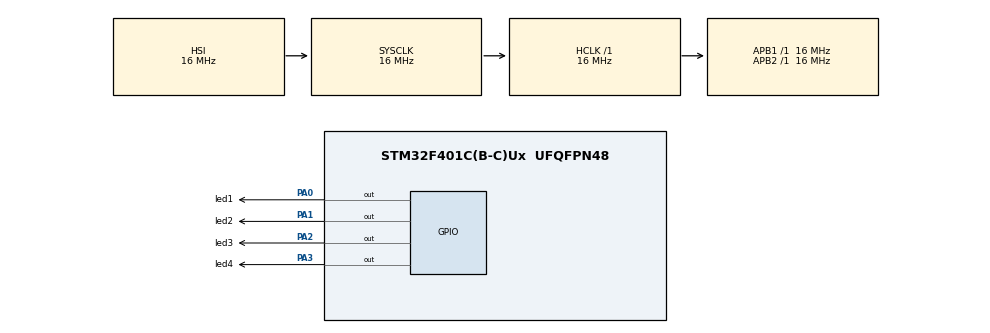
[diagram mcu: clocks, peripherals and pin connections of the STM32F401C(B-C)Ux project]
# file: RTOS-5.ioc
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FREERTOS.Tasks01=defaultTask,24,128,StartDefaultTask,Default,NULL,Dynamic,NULL,NULL;Green_Led_Flash,16,128,GreenTask,Default,NULL,Dynamic,NULL,NULL;Red_Led_Flash,24,128,RedTask,Default,NULL,Dynamic,NULL,NULL
Mcu.Family=STM32F4
Mcu.Name=STM32F401C(B-C)Ux
Mcu.Package=UFQFPN48
NVIC.PriorityGroup=NVIC_PRIORITYGROUP_4
NVIC.TIM4_IRQn=true\:15\:0\:false\:false\:true\:false\:false\:true\:true
NVIC.TimeBase=TIM4_IRQn
NVIC.TimeBaseIP=TIM4
PA0-WKUP.GPIO_Label=led1
PA0-WKUP.Signal=GPIO_Output
PA1.GPIO_Label=led2
PA1.Signal=GPIO_Output
PA13.Mode=Trace_Asynchronous_SW
PA13.Signal=SYS_JTMS-SWDIO
PA14.Mode=Trace_Asynchronous_SW
PA14.Signal=SYS_JTCK-SWCLK
PA2.GPIO_Label=led3
PA2.Signal=GPIO_Output
PA3.GPIO_Label=led4
PA3.Signal=GPIO_Output
PB3.Mode=Trace_Asynchronous_SW
PB3.Signal=SYS_JTDO-SWO
ProjectManager.HeapSize=0x200
ProjectManager.StackSize=0x400
ProjectManager.TargetToolchain=STM32CubeIDE
RCC.AHBFreq_Value=16000000
RCC.APB1Freq_Value=16000000
RCC.APB2Freq_Value=16000000
RCC.CortexFreq_Value=16000000
RCC.HSE_VALUE=25000000
RCC.HSI_VALUE=16000000
RCC.LSE_VALUE=32768
RCC.SYSCLKFreq_VALUE=16000000
RCC.VCOOutputFreq_Value=192000000
VP_FREERTOS_VS_CMSIS_V2.Mode=CMSIS_V2
VP_SYS_VS_tim4.Mode=TIM4
board=custom

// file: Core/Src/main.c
/* USER CODE BEGIN Header */
/**
  ******************************************************************************
  * @file           : main.c
  * @brief          : Main program body
  ******************************************************************************
  * @attention
  *
  * Copyright (c) 2024 STMicroelectronics.
  * All rights reserved.
  *
  * This software is licensed under terms that can be found in the LICENSE file
  * in the root directory of this software component.
  * If no LICENSE file comes with this software, it is provided AS-IS.
  *
  ******************************************************************************
  */
/* USER CODE END Header */
#include "main.h"
#include "cmsis_os.h"

/* USER CODE BEGIN PD */
#define HIGH GPIO_PIN_RESET
#define LOW GPIO_PIN_SET
/* USER CODE END PD */

/* Definitions for defaultTask */
osThreadId_t defaultTaskHandle;
const osThreadAttr_t defaultTask_attributes = {
  .name = "defaultTask",
  .stack_size = 128 * 4,
  .priority = (osPriority_t) osPriorityNormal,
};
/* Definitions for Green_Led_Flash */
osThreadId_t Green_Led_FlashHandle;
const osThreadAttr_t Green_Led_Flash_attributes = {
  .name = "Green_Led_Flash",
  .stack_size = 128 * 4,
  .priority = (osPriority_t) osPriorityBelowNormal,
};
/* Definitions for Red_Led_Flash */
osThreadId_t Red_Led_FlashHandle;
const osThreadAttr_t Red_Led_Flash_attributes = {
  .name = "Red_Led_Flash",
  .stack_size = 128 * 4,
  .priority = (osPriority_t) osPriorityNormal,
};
/* USER CODE BEGIN PV */
uint8_t StartFlag;
volatile uint8_t RedFlag = 1;
volatile uint8_t GreenFlag = 1;
/* USER CODE END PV */

void SystemClock_Config(void);
static void MX_GPIO_Init(void);
void StartDefaultTask(void *argument);
void GreenTask(void *argument);
void RedTask(void *argument);

/* USER CODE BEGIN PFP */
void FlashGreenLedTask(void *argument);
void FlashRedLedTask(void *argument);
void AccessSharedData(void);
/* USER CODE END PFP */

int main(void)
{

  /* MCU Configuration--------------------------------------------------------*/

  /* Reset of all peripherals, Initializes the Flash interface and the Systick. */
  HAL_Init();

  /* Configure the system clock */
  SystemClock_Config();

  /* Initialize all configured peripherals */
  MX_GPIO_Init();

  /* Init scheduler */
  osKernelInitialize();

  /* Create the thread(s) */
  /* creation of defaultTask */
  defaultTaskHandle = osThreadNew(StartDefaultTask, NULL, &defaultTask_attributes);

  /* creation of Green_Led_Flash */
  Green_Led_FlashHandle = osThreadNew(GreenTask, NULL, &Green_Led_Flash_attributes);

  /* creation of Red_Led_Flash */
  Red_Led_FlashHandle = osThreadNew(RedTask, NULL, &Red_Led_Flash_attributes);

  /* Start scheduler */
  osKernelStart();

  /* We should never get here as control is now taken by the scheduler */

  /* Infinite loop */
  while (1)
  {

  }
}

void SystemClock_Config(void)
{
  RCC_OscInitTypeDef RCC_OscInitStruct = {0};
  RCC_ClkInitTypeDef RCC_ClkInitStruct = {0};

  /** Configure the main internal regulator output voltage
  */
  __HAL_RCC_PWR_CLK_ENABLE();
  __HAL_PWR_VOLTAGESCALING_CONFIG(PWR_REGULATOR_VOLTAGE_SCALE2);

  /** Initializes the RCC Oscillators according to the specified parameters
  * in the RCC_OscInitTypeDef structure.
  */
  RCC_OscInitStruct.OscillatorType = RCC_OSCILLATORTYPE_HSI;
  RCC_OscInitStruct.HSIState = RCC_HSI_ON;
  RCC_OscInitStruct.HSICalibrationValue = RCC_HSICALIBRATION_DEFAULT;
  RCC_OscInitStruct.PLL.PLLState = RCC_PLL_NONE;
  if (HAL_RCC_OscConfig(&RCC_OscInitStruct) != HAL_OK)
  {
    Error_Handler();
  }

  /** Initializes the CPU, AHB and APB buses clocks
  */
  RCC_ClkInitStruct.ClockType = RCC_CLOCKTYPE_HCLK|RCC_CLOCKTYPE_SYSCLK
                              |RCC_CLOCKTYPE_PCLK1|RCC_CLOCKTYPE_PCLK2;
  RCC_ClkInitStruct.SYSCLKSource = RCC_SYSCLKSOURCE_HSI;
  RCC_ClkInitStruct.AHBCLKDivider = RCC_SYSCLK_DIV1;
  RCC_ClkInitStruct.APB1CLKDivider = RCC_HCLK_DIV1;
  RCC_ClkInitStruct.APB2CLKDivider = RCC_HCLK_DIV1;

  if (HAL_RCC_ClockConfig(&RCC_ClkInitStruct, FLASH_LATENCY_0) != HAL_OK)
  {
    Error_Handler();
  }
}

static void MX_GPIO_Init(void)
{
  GPIO_InitTypeDef GPIO_InitStruct = {0};

  /* GPIO Ports Clock Enable */
  __HAL_RCC_GPIOA_CLK_ENABLE();
  __HAL_RCC_GPIOB_CLK_ENABLE();

  /*Configure GPIO pin Output Level */
  HAL_GPIO_WritePin(GPIOA, led1_Pin|led2_Pin|led3_Pin|led4_Pin, GPIO_PIN_RESET);

  /*Configure GPIO pins : led1_Pin led2_Pin led3_Pin led4_Pin */
  GPIO_InitStruct.Pin = led1_Pin|led2_Pin|led3_Pin|led4_Pin;
  GPIO_InitStruct.Mode = GPIO_MODE_OUTPUT_PP;
  GPIO_InitStruct.Pull = GPIO_NOPULL;
  GPIO_InitStruct.Speed = GPIO_SPEED_FREQ_LOW;
  HAL_GPIO_Init(GPIOA, &GPIO_InitStruct);

}

/* USER CODE BEGIN 4 */
void AccessSharedData(void) {
    if (StartFlag == 1) {
        // Set Start flag to Down to indicate resource is in use
        StartFlag = 0;
    } else {
        // Resource contention: Turn on Blue LED
        HAL_GPIO_WritePin(led3_GPIO_Port, led3_Pin, HIGH);
    }

    // Simulate read/write operations with a delay of 500 milliseconds
    HAL_Delay(500);

    // Set Start flag back to Up to indicate resource is free
    StartFlag = 1;

    // Turn off Blue LED (if it was turned on during contention)
    HAL_GPIO_WritePin(led3_GPIO_Port, led3_Pin, LOW);
}
/* USER CODE END 4 */

void StartDefaultTask(void *argument)
{
  for(;;)
  {
    osDelay(1);
  }
}

void GreenTask(void *argument)
{
  /* USER CODE BEGIN GreenTask */
  /* Infinite loop */
  for(;;)
  {
	  GreenFlag = 1;
	  // Turn on Green LED
	  HAL_GPIO_WritePin(led4_GPIO_Port, led4_Pin, HIGH);

	  // Access shared data
	  AccessSharedData();

	  // Turn off Green LED
	  HAL_GPIO_WritePin(led4_GPIO_Port, led4_Pin, LOW);

	  GreenFlag = 0;
	  // Delay for 500 milliseconds
	  osDelay(500);
  }
  /* USER CODE END GreenTask */
}

void RedTask(void *argument)
{
  /* USER CODE BEGIN RedTask */
  /* Infinite loop */
  for(;;)
  {
	  RedFlag = 1;
	  // Turn on Red LED
	  HAL_GPIO_WritePin(led1_GPIO_Port, led1_Pin, HIGH);

	  // Access shared data
	  AccessSharedData();

	  // Turn off Red LED
	  HAL_GPIO_WritePin(led1_GPIO_Port, led1_Pin, LOW);

	  RedFlag = 0;
	  // Delay for 100 milliseconds
	  osDelay(100);
  }
  /* USER CODE END RedTask */
}

void HAL_TIM_PeriodElapsedCallback(TIM_HandleTypeDef *htim)
{
  if (htim->Instance == TIM4) {
    HAL_IncTick();
  }
}

void Error_Handler(void)
{
  __disable_irq();
  while (1)
  {
  }
}
